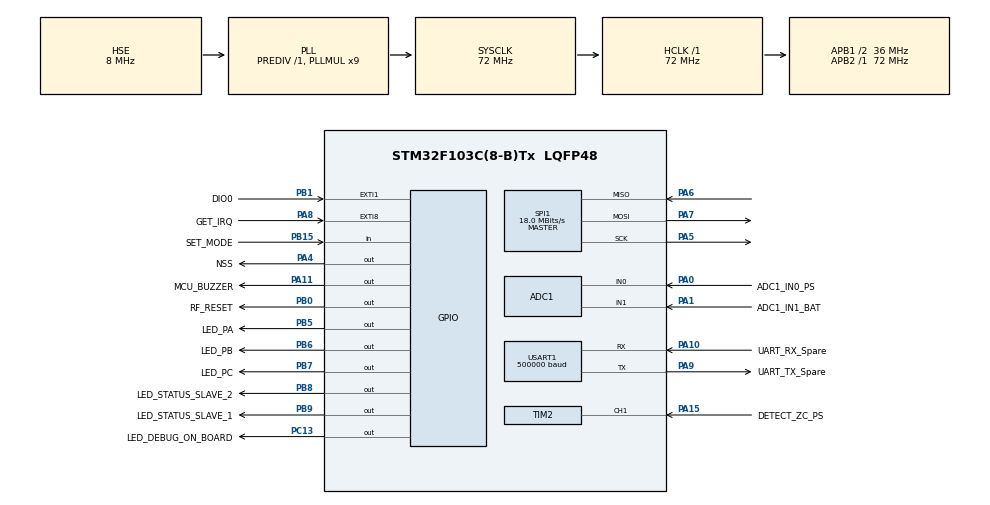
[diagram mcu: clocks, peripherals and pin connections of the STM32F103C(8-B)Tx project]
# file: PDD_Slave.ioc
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ADC1.Channel-1\#ChannelRegularConversion=ADC_CHANNEL_0
ADC1.Channel-2\#ChannelRegularConversion=ADC_CHANNEL_1
ADC1.ContinuousConvMode=ENABLE
ADC1.NbrOfConversion=2
ADC1.NbrOfConversionFlag=1
ADC1.Rank-1\#ChannelRegularConversion=1
ADC1.Rank-2\#ChannelRegularConversion=2
ADC1.SamplingTime-1\#ChannelRegularConversion=ADC_SAMPLETIME_55CYCLES_5
ADC1.SamplingTime-2\#ChannelRegularConversion=ADC_SAMPLETIME_239CYCLES_5
ADC1.master=1
Dma.ADC1.0.Direction=DMA_PERIPH_TO_MEMORY
Dma.ADC1.0.Instance=DMA1_Channel1
Dma.ADC1.0.MemDataAlignment=DMA_MDATAALIGN_HALFWORD
Dma.ADC1.0.MemInc=DMA_MINC_ENABLE
Dma.ADC1.0.Mode=DMA_CIRCULAR
Dma.ADC1.0.PeriphDataAlignment=DMA_PDATAALIGN_HALFWORD
Dma.ADC1.0.PeriphInc=DMA_PINC_DISABLE
Dma.ADC1.0.Priority=DMA_PRIORITY_LOW
Dma.Request0=ADC1
Dma.Request1=USART1_TX
Dma.USART1_TX.1.Direction=DMA_MEMORY_TO_PERIPH
Dma.USART1_TX.1.Instance=DMA1_Channel4
Dma.USART1_TX.1.MemDataAlignment=DMA_MDATAALIGN_BYTE
Dma.USART1_TX.1.MemInc=DMA_MINC_ENABLE
Dma.USART1_TX.1.Mode=DMA_NORMAL
Dma.USART1_TX.1.PeriphDataAlignment=DMA_PDATAALIGN_BYTE
Dma.USART1_TX.1.PeriphInc=DMA_PINC_DISABLE
Dma.USART1_TX.1.Priority=DMA_PRIORITY_LOW
Mcu.Family=STM32F1
Mcu.Name=STM32F103C(8-B)Tx
Mcu.Package=LQFP48
NVIC.DMA1_Channel1_IRQn=true\:0\:0\:false\:false\:true\:false\:true\:true
NVIC.DMA1_Channel4_IRQn=true\:0\:0\:false\:false\:true\:false\:true\:true
NVIC.EXTI1_IRQn=true\:0\:0\:false\:false\:true\:true\:true\:true
NVIC.EXTI9_5_IRQn=true\:2\:0\:true\:false\:true\:true\:true\:true
NVIC.PriorityGroup=NVIC_PRIORITYGROUP_4
NVIC.TIM1_UP_IRQn=true\:0\:0\:true\:false\:true\:true\:true\:true
NVIC.TIM3_IRQn=true\:1\:0\:true\:false\:true\:true\:true\:true
NVIC.USART1_IRQn=true\:0\:0\:false\:false\:true\:true\:true\:true
PA0-WKUP.GPIO_Label=ADC1_IN0_PS
PA0-WKUP.Signal=ADCx_IN0
PA1.GPIO_Label=ADC1_IN1_BAT
PA1.Signal=ADCx_IN1
PA10.GPIO_Label=UART_RX_Spare
PA10.Mode=Asynchronous
PA10.Signal=USART1_RX
PA11.GPIO_Label=MCU_BUZZER
PA11.Signal=GPIO_Output
PA13.Mode=Serial_Wire
PA13.Signal=SYS_JTMS-SWDIO
PA14.Mode=Serial_Wire
PA14.Signal=SYS_JTCK-SWCLK
PA15.GPIO_Label=DETECT_ZC_PS
PA15.Signal=S_TIM2_CH1_ETR
PA4.GPIO_Label=NSS
PA4.Signal=GPIO_Output
PA5.Mode=Full_Duplex_Master
PA5.Signal=SPI1_SCK
PA6.Mode=Full_Duplex_Master
PA6.Signal=SPI1_MISO
PA7.Mode=Full_Duplex_Master
PA7.Signal=SPI1_MOSI
PA8.GPIO_Label=GET_IRQ
PA8.GPIO_PuPd=GPIO_PULLDOWN
PA8.Signal=GPXTI8
PA9.GPIO_Label=UART_TX_Spare
PA9.Mode=Asynchronous
PA9.Signal=USART1_TX
PB0.GPIO_Label=RF_RESET
PB0.Signal=GPIO_Output
PB1.GPIO_Label=DIO0
PB1.GPIO_PuPd=GPIO_PULLDOWN
PB1.Signal=GPXTI1
PB15.GPIO_Label=SET_MODE
PB15.GPIO_PuPd=GPIO_PULLUP
PB15.Signal=GPIO_Input
PB5.GPIO_Label=LED_PA
PB5.GPIO_PuPd=GPIO_PULLDOWN
PB5.Signal=GPIO_Output
PB6.GPIO_Label=LED_PB
PB6.GPIO_PuPd=GPIO_PULLDOWN
PB6.Signal=GPIO_Output
PB7.GPIO_Label=LED_PC
PB7.GPIO_PuPd=GPIO_PULLDOWN
PB7.Signal=GPIO_Output
PB8.GPIO_Label=LED_STATUS_SLAVE_2
PB8.Signal=GPIO_Output
PB9.GPIO_Label=LED_STATUS_SLAVE_1
PB9.Signal=GPIO_Output
PC13-TAMPER-RTC.GPIO_Label=LED_DEBUG_ON_BOARD
PC13-TAMPER-RTC.Signal=GPIO_Output
PD0-OSC_IN.Mode=HSE-External-Oscillator
PD0-OSC_IN.Signal=RCC_OSC_IN
PD1-OSC_OUT.Mode=HSE-External-Oscillator
PD1-OSC_OUT.Signal=RCC_OSC_OUT
ProjectManager.HeapSize=0x200
ProjectManager.StackSize=0x400
ProjectManager.TargetToolchain=MDK-ARM V5.32
RCC.ADCPresc=RCC_ADCPCLK2_DIV6
RCC.AHBFreq_Value=72000000
RCC.APB1CLKDivider=RCC_HCLK_DIV2
RCC.APB1Freq_Value=36000000
RCC.APB1TimFreq_Value=72000000
RCC.APB2Freq_Value=72000000
RCC.APB2TimFreq_Value=72000000
RCC.HCLKFreq_Value=72000000
RCC.PLLMUL=RCC_PLL_MUL9
RCC.PLLSourceVirtual=RCC_PLLSOURCE_HSE
RCC.SYSCLKFreq_VALUE=72000000
RCC.SYSCLKSource=RCC_SYSCLKSOURCE_PLLCLK
RCC.USBFreq_Value=72000000
SH.ADCx_IN0.0=ADC1_IN0,IN0
SH.ADCx_IN1.0=ADC1_IN1,IN1
SH.S_TIM2_CH1_ETR.0=TIM2_CH1,Input_Capture1_from_TI1
SPI1.BaudRatePrescaler=SPI_BAUDRATEPRESCALER_4
SPI1.CalculateBaudRate=18.0 MBits/s
SPI1.Direction=SPI_DIRECTION_2LINES
SPI1.Mode=SPI_MODE_MASTER
SPI1.VirtualType=VM_MASTER
TIM1.AutoReloadPreload=TIM_AUTORELOAD_PRELOAD_ENABLE
TIM1.Period=49
TIM1.Prescaler=71
TIM2.Channel-Input_Capture1_from_TI1=TIM_CHANNEL_1
TIM3.Prescaler=71
USART1.BaudRate=500000
USART1.VirtualMode=VM_ASYNC
VP_TIM1_VS_ClockSourceINT.Mode=Internal
VP_TIM2_VS_ClockSourceINT.Mode=Internal
VP_TIM3_VS_ClockSourceINT.Mode=Internal
board=custom

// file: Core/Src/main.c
/* USER CODE BEGIN Header */
/**
  ******************************************************************************
  * @file           : main.c
  * @brief          : Main program body
  ******************************************************************************
  * @attention
  *
  * Copyright (c) 2026 STMicroelectronics.
  * All rights reserved.
  *
  * This software is licensed under terms that can be found in the LICENSE file
  * in the root directory of this software component.
  * If no LICENSE file comes with this software, it is provided AS-IS.
  *
  ******************************************************************************
  */
/* USER CODE END Header */
#include "main.h"

/* USER CODE BEGIN Includes */

#include "LoRa.h"

#include "flash.h"

#include <string.h>

#include <stdio.h>

#include <stdbool.h>

/* USER CODE END Includes */

/* USER CODE BEGIN PD */

//#define DEBUG

#define ON_LED_DEBUG( )	HAL_GPIO_WritePin(LED_DEBUG_ON_BOARD_GPIO_Port, LED_DEBUG_ON_BOARD_Pin, GPIO_PIN_SET)
#define OFF_LED_DEBUG( )	HAL_GPIO_WritePin(LED_DEBUG_ON_BOARD_GPIO_Port, LED_DEBUG_ON_BOARD_Pin, GPIO_PIN_RESET)
#define TOGGLE_LED_DEBUG( )	HAL_GPIO_TogglePin(LED_DEBUG_ON_BOARD_GPIO_Port, LED_DEBUG_ON_BOARD_Pin)

#define ON_LED_PA( )	HAL_GPIO_WritePin(LED_PA_GPIO_Port, LED_PA_Pin, GPIO_PIN_SET);
#define OFF_LED_PA( )	HAL_GPIO_WritePin(LED_PA_GPIO_Port, LED_PA_Pin, GPIO_PIN_RESET);

#define ON_LED_PB( )	HAL_GPIO_WritePin(LED_PB_GPIO_Port, LED_PB_Pin, GPIO_PIN_SET);
#define OFF_LED_PB( )	HAL_GPIO_WritePin(LED_PB_GPIO_Port, LED_PB_Pin, GPIO_PIN_RESET);

#define ON_LED_PC( )	HAL_GPIO_WritePin(LED_PC_GPIO_Port, LED_PC_Pin, GPIO_PIN_SET);
#define OFF_LED_PC( )	HAL_GPIO_WritePin(LED_PC_GPIO_Port, LED_PC_Pin, GPIO_PIN_RESET);

// Buzzer active
#define BUZZER_ON()  HAL_GPIO_WritePin(MCU_BUZZER_GPIO_Port, MCU_BUZZER_Pin, GPIO_PIN_SET);
#define BUZZER_OFF()  HAL_GPIO_WritePin(MCU_BUZZER_GPIO_Port, MCU_BUZZER_Pin, GPIO_PIN_RESET);

#define MA_SIZE_MAX     100
#define MA_SIZE_PHASE_ZC  5
#define MA_SIZE_BAT       8

#define MAX_SIZE_LORA 12

// #define ZERO_PS 1978

#define CYCLE_GRID 20000

#define RANGE_GRID_L 19000
#define RANGE_GRID_H 21000

#define TIME_DET_PHASE 50   //      50*20ms = 1s
#define LOSS_GRID_TIMEOUT 1000   //   100ms/0.1ms = 1000

#define pA_L   0
#define pA_H   6667

#define pB_L   13333
#define pB_H   20000

#define pC_L   6667
#define pC_H   13333

#define BATTERY_LOW   9.6
#define BATTERY_FULL  12.0
#define V_CHARGER_ON 0.2
#define V_CHARGER_OFF 0.2

typedef struct
{
    uint16_t buf[MA_SIZE_MAX];
    uint32_t sum;
    uint8_t index;
    uint16_t size;
} MA_Filter_t;

typedef enum
{
  MODE_IDLE = 0xFF,
  MODE_OFF = 0,
  MODE_STS_G = 1,
  MODE_STS_R = 2,

  MODE_SET_FLASH_G = 3,
  MODE_FLASH_G = 4,

  MODE_SET_FLASH_R = 5,
  MODE_FLASH_R = 6,
}MODE_LED_e;

typedef enum
{
  BUZZER_OFF = 0,
  BUZZER_ON = 1,
  BUZZER_SET_TRIGGER_PIP = 2,
  BUZZER_TRIGGER_PIP = 3,
}MODE_BUZZER_e;

typedef enum
{
  NORMAL = 0,
  BAT_LOW = 1,
  ON_CHARGE = 2,
}SLAVE_STATUS_e;

typedef enum
{
  WAIT_NEG = 1,
  WAIT_ZC_UP = 2,
  WAIT_POS = 3,
  LOSS_GRID = 4,
}MODE_DETECT_e;

typedef struct {
    volatile uint16_t* adc_raw_ptr;       // Trỏ tới adc_raw[x]
    MA_Filter_t filter;         // Trỏ tới bộ lọc tương ứng
    uint16_t zero_val;     // Giá trị ZERO_PX
    volatile bool phase_detected;
    volatile uint16_t p_cur;
    volatile uint16_t p_prev;
    volatile uint16_t cnt_detect;
    volatile uint32_t last_zc;
    volatile uint32_t now_zc;
    volatile uint32_t interval_zc;
    volatile bool has_new_edge;          // Cờ báo hiệu có cạnh lên mới cho Main xử lý

    volatile MODE_DETECT_e mode_det;
    volatile uint16_t cnt_det_loss_grid;
  } Phase_Data_t;

typedef struct {
    volatile uint16_t* adc_raw_ptr;
    MA_Filter_t filter;
    float vBat_raw, vBat_filtered, vBat_last;
    uint16_t adc_filterd;

    uint16_t cnt_low_bat;
    uint16_t cnt_full_bat;

    bool flag_track_charge_full;

    uint32_t last_time;
    uint32_t interval_time;
    uint32_t now_time;
}Battery_Data_t;

/* USER CODE END PD */

ADC_HandleTypeDef hadc1;
DMA_HandleTypeDef hdma_adc1;

SPI_HandleTypeDef hspi1;

TIM_HandleTypeDef htim1;
TIM_HandleTypeDef htim2;
TIM_HandleTypeDef htim3;

UART_HandleTypeDef huart1;
DMA_HandleTypeDef hdma_usart1_tx;

/* USER CODE BEGIN PV */
uint32_t tick_slave = 0;
uint32_t cnt_timetick = 0;
uint32_t cycle_timetick = 20000;

volatile uint32_t ovf_tim3 = 0;
volatile uint8_t flag_cnt_50us = 0;

// LED
volatile MODE_LED_e mode_led = MODE_IDLE;
volatile uint16_t cnt_handle_led = 0;

//BUZZER
volatile MODE_BUZZER_e mode_buzzer = BUZZER_OFF;
volatile uint16_t cnt_handle_buzzer = 0;

//LoRa variables
LoRa vLoRa;
uint16_t config_lora = 0xFA;

uint8_t TX_Lora_buff[MAX_SIZE_LORA];
uint8_t RX_LoRa_buff[MAX_SIZE_LORA];

uint8_t rec_ok = 0;
uint16_t cnt_recOK = 0;
volatile uint16_t num_RX_irq_LoRa = 0;
volatile bool flag_Lora_Rx = false;

SLAVE_STATUS_e slave_status = NORMAL;

// Phase variables
Phase_Data_t phaseS;

// ADC measurement variables
volatile uint16_t adc_raw[2];

// Battery measurement
Battery_Data_t battery;

// For calib ADC at zeropoint
uint8_t flag_get_zero = 0;
uint16_t offset_pS = 0;

// For logging
uint8_t flag_tx_log = 0;
char uart_tx_log[100];
uint32_t stt = 0;

// Other variables
uint16_t delta_pA = 0;
uint16_t delta_pB = 0;
uint16_t delta_pC = 0;

uint32_t tx_time = 0, rx_time = 0;
uint32_t deltaT_mod = 0, deltaT_div = 0;
uint32_t latency = 0;

uint16_t point_pA = 0, point_pB = 0, point_pC = 0;

/* USER CODE END PV */

void SystemClock_Config(void);
static void MX_GPIO_Init(void);
static void MX_DMA_Init(void);
static void MX_TIM1_Init(void);
static void MX_USART1_UART_Init(void);
static void MX_ADC1_Init(void);
static void MX_SPI1_Init(void);
static void MX_TIM3_Init(void);
static void MX_TIM2_Init(void);
/* USER CODE BEGIN PFP */

void Get_Offset(void);
void Handle_LED(void);
void Handle_Buzzer(void);
void Battery_Handle(Battery_Data_t *pBat);
void Handle_LoRa_RX(void);
void OFF_LED_STATUS(void);
void ON_LED_STATUS_G(void);
void ON_LED_STATUS_R(void);
void MA_Init(MA_Filter_t *f, uint16_t init_value, uint16_t sizeMA);
uint16_t MA_Update(MA_Filter_t *f, uint16_t sample);

uint32_t GetTimeUs(){
  uint32_t ovf1, ovf2;
  uint32_t cnt;

  do {
    ovf1 = ovf_tim3;
    cnt = TIM3->CNT;
    ovf2 = ovf_tim3;
  } while (ovf1 != ovf2); // Guard against rollover during reading

  return (ovf1 << 16) + cnt;
}

void Phase_init(Phase_Data_t* p_data, volatile  uint16_t* adc_raw_ptr, uint16_t zero_val){
    p_data->adc_raw_ptr = adc_raw_ptr;
    p_data->zero_val = zero_val;
    p_data->p_cur = 0;
    p_data->p_prev = 0;
    p_data->cnt_detect = 0;
    p_data->last_zc = 0;
    p_data->now_zc = 0;
    p_data->interval_zc = 0;
    p_data->phase_detected = false;
    p_data->has_new_edge = false;
    MA_Init(&p_data->filter, zero_val, MA_SIZE_PHASE_ZC);

    p_data->mode_det = WAIT_NEG;
    p_data->cnt_det_loss_grid = 0;
}

static inline void Process_Phase_ZC(Phase_Data_t *phase, uint32_t now_time)
{
    phase->p_cur = MA_Update(&phase->filter, *(phase->adc_raw_ptr));

    if(phase->phase_detected){
      if(++phase->cnt_det_loss_grid >= LOSS_GRID_TIMEOUT){
        phase->cnt_det_loss_grid = 0;
        phase->mode_det = LOSS_GRID;
      }
    }

    switch(phase->mode_det)
    {
      case WAIT_NEG:
        if (phase->p_cur < phase->zero_val - 100)
        {
          if(phase->phase_detected == true){
            phase->mode_det = WAIT_ZC_UP;
          }else{
            phase->mode_det = WAIT_POS;
          }
        }
        break;
      case WAIT_POS:
        if (phase->p_cur > phase->zero_val + 100)
        {
          if(++phase->cnt_detect == TIME_DET_PHASE){
            phase->phase_detected = true;
          }
          phase->mode_det = WAIT_NEG;
        }
        break;
      case WAIT_ZC_UP:
			{
        uint32_t itv_lZC = now_time - phase->last_zc;

        /* Rising Zero-Cross */
        if (phase->p_prev <= phase->zero_val && phase->p_cur>phase->zero_val)
        {
            /* First edge after startup or loss-grid */
            if (phase->last_zc == 0U)
            {
                phase->last_zc = now_time;
            }
            else
            {
                while(itv_lZC > RANGE_GRID_H){
                  itv_lZC -= CYCLE_GRID;
                }
                if ((itv_lZC >= RANGE_GRID_L) && (itv_lZC <= RANGE_GRID_H))
                {
                  phase->now_zc       = now_time;
                  phase->interval_zc  = itv_lZC;

                  phase->has_new_edge = true;
                  phase->last_zc = now_time;
                  phase->cnt_det_loss_grid = 0;
                }
            }
            phase->mode_det = WAIT_NEG;
        }
        phase->p_prev = phase->p_cur;
        break;
			}
      case LOSS_GRID:
        phase->phase_detected = false;
        phase->cnt_detect  = 0;
        phase->last_zc     = 0;
        phase->now_zc = 0;
        phase->mode_det = WAIT_NEG;
        break;
    }
}

void HAL_TIM_PeriodElapsedCallback(TIM_HandleTypeDef *htim)
{
  if (htim->Instance == TIM1)
  {
    cnt_timetick++;
    cnt_handle_led++;
    cnt_handle_buzzer++;

    if(++flag_cnt_50us >= 2)    // 50us or 100us
    {
      uint32_t now_time = GetTimeUs();
      flag_cnt_50us = 0;

      Process_Phase_ZC(&phaseS, now_time);
    }
  }

  if(htim->Instance == TIM3)        // every 65535us
  {
    ovf_tim3++;
  }
}

void HAL_GPIO_EXTI_Callback(uint16_t GPIO_Pin)
{
  /* Prevent unused argument(s) compilation warning */
  UNUSED(GPIO_Pin);

  if(GPIO_Pin == vLoRa.DIO0_pin)
  {
    num_RX_irq_LoRa++;
    flag_Lora_Rx = true;
  }
#ifdef DEBUG
  if(GPIO_Pin == GET_IRQ_Pin)
  {
    tx_time = GetTimeUs();
  }
#endif
}

void Battery_init(Battery_Data_t* pBat, volatile  uint16_t* adc_raw_ptr){
    pBat->adc_raw_ptr = adc_raw_ptr;
    pBat->vBat_raw = 0.0f;
    pBat->vBat_filtered = 0.0f;
    pBat->adc_filterd = 0;

    pBat->last_time = 0;
    pBat->interval_time = 0;
    pBat->now_time = 0;

    pBat->cnt_low_bat = 0;
    pBat->cnt_full_bat = 0;
    pBat->flag_track_charge_full = false;
    MA_Init(&pBat->filter, 0, MA_SIZE_BAT);
}

/* USER CODE END PFP */

int main(void)
{

  /* MCU Configuration--------------------------------------------------------*/

  /* Reset of all peripherals, Initializes the Flash interface and the Systick. */
  HAL_Init();

  /* Configure the system clock */
  SystemClock_Config();

  /* Initialize all configured peripherals */
  MX_GPIO_Init();
  MX_DMA_Init();
  MX_TIM1_Init();
  MX_USART1_UART_Init();
  MX_ADC1_Init();
  MX_SPI1_Init();
  MX_TIM3_Init();
  MX_TIM2_Init();
  /* USER CODE BEGIN 2 */

	ON_LED_DEBUG();
  ON_LED_STATUS_G();

  ON_LED_PA();
  ON_LED_PB();
  ON_LED_PC();

	Lora_Init(&vLoRa, &hspi1, 912);
	LoRa_reset(&vLoRa);
	config_lora = LoRa_Config(&vLoRa);

	while(config_lora!=0x00C8){
		ON_LED_DEBUG();
    Lora_Init(&vLoRa, &hspi1, 912);
	  LoRa_reset(&vLoRa);
    config_lora = LoRa_Config(&vLoRa);
		OFF_LED_DEBUG();
		HAL_Delay(15);
	}
  LoRa_startReceiving(&vLoRa);
  // Config Lora ok
  OFF_LED_DEBUG();
  OFF_LED_STATUS();

	Load_Infor_Func();

	Phase_init(&phaseS, &adc_raw[0], vInfor_cache.zero_pS);

  Battery_init(&battery, &adc_raw[1]);

	HAL_ADC_Start_DMA(&hadc1, (uint32_t*)&adc_raw, 2);

	BUZZER_ON(); HAL_Delay(15);
	BUZZER_OFF(); HAL_Delay(100);
  OFF_LED_PA();
	BUZZER_ON(); HAL_Delay(15);
	BUZZER_OFF(); HAL_Delay(100);
  OFF_LED_PB();
	BUZZER_ON(); HAL_Delay(15);
	BUZZER_OFF(); HAL_Delay(100);
  OFF_LED_PC();

	HAL_TIM_Base_Start_IT(&htim1);
  HAL_TIM_Base_Start_IT(&htim3);

	uint16_t cnt_get_zero = 0;
	while(HAL_GPIO_ReadPin(SET_MODE_GPIO_Port, SET_MODE_Pin) == GPIO_PIN_RESET){
		if(++cnt_get_zero == 3000){
			flag_get_zero = true;
			break;
		}
	}

	// Battery meas stable
	uint8_t cnt_try = 50;
	while(--cnt_try >0 ){
		HAL_Delay(1);
		battery.adc_filterd = MA_Update(&battery.filter, *(battery.adc_raw_ptr));
    battery.vBat_filtered = ((float)battery.adc_filterd / 4095.0f) * 3.3f * 4.9f;     // tinh dien ap theo "pBat->adc_filterd"
		battery.vBat_last = battery.vBat_filtered;
	}

  /* USER CODE END 2 */

  /* Infinite loop */
  while (1)
  {

    /* USER CODE BEGIN 3 */

		tick_slave++;

#ifdef DEBUG
		if(cnt_timetick >= cycle_timetick)
    {
      cnt_timetick = 0;
			TOGGLE_LED_DEBUG();
    }
#endif

		// Handle receive packet Lora
		Handle_LoRa_RX();

    // Handle LED status
    Handle_LED();

    // Handle Buzzer
    Handle_Buzzer();

    // Battery Voltage Meas
    Battery_Handle(&battery);

		// Get offset for ADC measurement
    Get_Offset();

#ifdef DEBUG
    // For debug
    if(flag_tx_log == 1){
			flag_tx_log = 0;
			//sprintf(uart_tx_log, "%u %u %u\n",++stt, adc_raw_pS, adc_filtered_pS);

			//sprintf(uart_tx_log, "%u %u %u %u\n",++stt, adc_raw_pS, adc_filtered_pS, interval_zc);

			//sprintf(uart_tx_log, "%u %u %u %u %u\n",++stt, deltaT, LN, delta_pB, delta_pC);

			//HAL_UART_Transmit_DMA(&huart1, (uint8_t*)uart_tx_log, strlen(uart_tx_log));
		}
#endif

  }
  /* USER CODE END 3 */
}

void SystemClock_Config(void)
{
  RCC_OscInitTypeDef RCC_OscInitStruct = {0};
  RCC_ClkInitTypeDef RCC_ClkInitStruct = {0};
  RCC_PeriphCLKInitTypeDef PeriphClkInit = {0};

  /** Initializes the RCC Oscillators according to the specified parameters
  * in the RCC_OscInitTypeDef structure.
  */
  RCC_OscInitStruct.OscillatorType = RCC_OSCILLATORTYPE_HSE;
  RCC_OscInitStruct.HSEState = RCC_HSE_ON;
  RCC_OscInitStruct.HSEPredivValue = RCC_HSE_PREDIV_DIV1;
  RCC_OscInitStruct.HSIState = RCC_HSI_ON;
  RCC_OscInitStruct.PLL.PLLState = RCC_PLL_ON;
  RCC_OscInitStruct.PLL.PLLSource = RCC_PLLSOURCE_HSE;
  RCC_OscInitStruct.PLL.PLLMUL = RCC_PLL_MUL9;
  if (HAL_RCC_OscConfig(&RCC_OscInitStruct) != HAL_OK)
  {
    Error_Handler();
  }

  /** Initializes the CPU, AHB and APB buses clocks
  */
  RCC_ClkInitStruct.ClockType = RCC_CLOCKTYPE_HCLK|RCC_CLOCKTYPE_SYSCLK
                              |RCC_CLOCKTYPE_PCLK1|RCC_CLOCKTYPE_PCLK2;
  RCC_ClkInitStruct.SYSCLKSource = RCC_SYSCLKSOURCE_PLLCLK;
  RCC_ClkInitStruct.AHBCLKDivider = RCC_SYSCLK_DIV1;
  RCC_ClkInitStruct.APB1CLKDivider = RCC_HCLK_DIV2;
  RCC_ClkInitStruct.APB2CLKDivider = RCC_HCLK_DIV1;

  if (HAL_RCC_ClockConfig(&RCC_ClkInitStruct, FLASH_LATENCY_2) != HAL_OK)
  {
    Error_Handler();
  }
  PeriphClkInit.PeriphClockSelection = RCC_PERIPHCLK_ADC;
  PeriphClkInit.AdcClockSelection = RCC_ADCPCLK2_DIV6;
  if (HAL_RCCEx_PeriphCLKConfig(&PeriphClkInit) != HAL_OK)
  {
    Error_Handler();
  }
}

static void MX_ADC1_Init(void)
{

  ADC_ChannelConfTypeDef sConfig = {0};

  /** Common config
  */
  hadc1.Instance = ADC1;
  hadc1.Init.ScanConvMode = ADC_SCAN_ENABLE;
  hadc1.Init.ContinuousConvMode = ENABLE;
  hadc1.Init.DiscontinuousConvMode = DISABLE;
  hadc1.Init.ExternalTrigConv = ADC_SOFTWARE_START;
  hadc1.Init.DataAlign = ADC_DATAALIGN_RIGHT;
  hadc1.Init.NbrOfConversion = 2;
  if (HAL_ADC_Init(&hadc1) != HAL_OK)
  {
    Error_Handler();
  }

  /** Configure Regular Channel
  */
  sConfig.Channel = ADC_CHANNEL_0;
  sConfig.Rank = ADC_REGULAR_RANK_1;
  sConfig.SamplingTime = ADC_SAMPLETIME_55CYCLES_5;
  if (HAL_ADC_ConfigChannel(&hadc1, &sConfig) != HAL_OK)
  {
    Error_Handler();
  }

  /** Configure Regular Channel
  */
  sConfig.Channel = ADC_CHANNEL_1;
  sConfig.Rank = ADC_REGULAR_RANK_2;
  sConfig.SamplingTime = ADC_SAMPLETIME_239CYCLES_5;
  if (HAL_ADC_ConfigChannel(&hadc1, &sConfig) != HAL_OK)
  {
    Error_Handler();
  }

}

static void MX_SPI1_Init(void)
{

  /* SPI1 parameter configuration*/
  hspi1.Instance = SPI1;
  hspi1.Init.Mode = SPI_MODE_MASTER;
  hspi1.Init.Direction = SPI_DIRECTION_2LINES;
  hspi1.Init.DataSize = SPI_DATASIZE_8BIT;
  hspi1.Init.CLKPolarity = SPI_POLARITY_LOW;
  hspi1.Init.CLKPhase = SPI_PHASE_1EDGE;
  hspi1.Init.NSS = SPI_NSS_SOFT;
  hspi1.Init.BaudRatePrescaler = SPI_BAUDRATEPRESCALER_4;
  hspi1.Init.FirstBit = SPI_FIRSTBIT_MSB;
  hspi1.Init.TIMode = SPI_TIMODE_DISABLE;
  hspi1.Init.CRCCalculation = SPI_CRCCALCULATION_DISABLE;
  hspi1.Init.CRCPolynomial = 10;
  if (HAL_SPI_Init(&hspi1) != HAL_OK)
  {
    Error_Handler();
  }

}

static void MX_TIM1_Init(void)
{

  TIM_ClockConfigTypeDef sClockSourceConfig = {0};
  TIM_MasterConfigTypeDef sMasterConfig = {0};

  htim1.Instance = TIM1;
  htim1.Init.Prescaler = 71;
  htim1.Init.CounterMode = TIM_COUNTERMODE_UP;
  htim1.Init.Period = 49;
  htim1.Init.ClockDivision = TIM_CLOCKDIVISION_DIV1;
  htim1.Init.RepetitionCounter = 0;
  htim1.Init.AutoReloadPreload = TIM_AUTORELOAD_PRELOAD_ENABLE;
  if (HAL_TIM_Base_Init(&htim1) != HAL_OK)
  {
    Error_Handler();
  }
  sClockSourceConfig.ClockSource = TIM_CLOCKSOURCE_INTERNAL;
  if (HAL_TIM_ConfigClockSource(&htim1, &sClockSourceConfig) != HAL_OK)
  {
    Error_Handler();
  }
  sMasterConfig.MasterOutputTrigger = TIM_TRGO_RESET;
  sMasterConfig.MasterSlaveMode = TIM_MASTERSLAVEMODE_DISABLE;
  if (HAL_TIMEx_MasterConfigSynchronization(&htim1, &sMasterConfig) != HAL_OK)
  {
    Error_Handler();
  }

}

static void MX_TIM2_Init(void)
{

  TIM_ClockConfigTypeDef sClockSourceConfig = {0};
  TIM_MasterConfigTypeDef sMasterConfig = {0};
  TIM_IC_InitTypeDef sConfigIC = {0};

  htim2.Instance = TIM2;
  htim2.Init.Prescaler = 0;
  htim2.Init.CounterMode = TIM_COUNTERMODE_UP;
  htim2.Init.Period = 65535;
  htim2.Init.ClockDivision = TIM_CLOCKDIVISION_DIV1;
  htim2.Init.AutoReloadPreload = TIM_AUTORELOAD_PRELOAD_DISABLE;
  if (HAL_TIM_Base_Init(&htim2) != HAL_OK)
  {
    Error_Handler();
  }
  sClockSourceConfig.ClockSource = TIM_CLOCKSOURCE_INTERNAL;
  if (HAL_TIM_ConfigClockSource(&htim2, &sClockSourceConfig) != HAL_OK)
  {
    Error_Handler();
  }
  if (HAL_TIM_IC_Init(&htim2) != HAL_OK)
  {
    Error_Handler();
  }
  sMasterConfig.MasterOutputTrigger = TIM_TRGO_RESET;
  sMasterConfig.MasterSlaveMode = TIM_MASTERSLAVEMODE_DISABLE;
  if (HAL_TIMEx_MasterConfigSynchronization(&htim2, &sMasterConfig) != HAL_OK)
  {
    Error_Handler();
  }
  sConfigIC.ICPolarity = TIM_INPUTCHANNELPOLARITY_RISING;
  sConfigIC.ICSelection = TIM_ICSELECTION_DIRECTTI;
  sConfigIC.ICPrescaler = TIM_ICPSC_DIV1;
  sConfigIC.ICFilter = 0;
  if (HAL_TIM_IC_ConfigChannel(&htim2, &sConfigIC, TIM_CHANNEL_1) != HAL_OK)
  {
    Error_Handler();
  }

}

static void MX_TIM3_Init(void)
{

  TIM_ClockConfigTypeDef sClockSourceConfig = {0};
  TIM_MasterConfigTypeDef sMasterConfig = {0};

  htim3.Instance = TIM3;
  htim3.Init.Prescaler = 71;
  htim3.Init.CounterMode = TIM_COUNTERMODE_UP;
  htim3.Init.Period = 65535;
  htim3.Init.ClockDivision = TIM_CLOCKDIVISION_DIV1;
  htim3.Init.AutoReloadPreload = TIM_AUTORELOAD_PRELOAD_DISABLE;
  if (HAL_TIM_Base_Init(&htim3) != HAL_OK)
  {
    Error_Handler();
  }
  sClockSourceConfig.ClockSource = TIM_CLOCKSOURCE_INTERNAL;
  if (HAL_TIM_ConfigClockSource(&htim3, &sClockSourceConfig) != HAL_OK)
  {
    Error_Handler();
  }
  sMasterConfig.MasterOutputTrigger = TIM_TRGO_RESET;
  sMasterConfig.MasterSlaveMode = TIM_MASTERSLAVEMODE_DISABLE;
  if (HAL_TIMEx_MasterConfigSynchronization(&htim3, &sMasterConfig) != HAL_OK)
  {
    Error_Handler();
  }

}

static void MX_USART1_UART_Init(void)
{

  huart1.Instance = USART1;
  huart1.Init.BaudRate = 500000;
  huart1.Init.WordLength = UART_WORDLENGTH_8B;
  huart1.Init.StopBits = UART_STOPBITS_1;
  huart1.Init.Parity = UART_PARITY_NONE;
  huart1.Init.Mode = UART_MODE_TX_RX;
  huart1.Init.HwFlowCtl = UART_HWCONTROL_NONE;
  huart1.Init.OverSampling = UART_OVERSAMPLING_16;
  if (HAL_UART_Init(&huart1) != HAL_OK)
  {
    Error_Handler();
  }

}

static void MX_DMA_Init(void)
{

  /* DMA controller clock enable */
  __HAL_RCC_DMA1_CLK_ENABLE();

  /* DMA interrupt init */
  /* DMA1_Channel1_IRQn interrupt configuration */
  HAL_NVIC_SetPriority(DMA1_Channel1_IRQn, 0, 0);
  HAL_NVIC_EnableIRQ(DMA1_Channel1_IRQn);
  /* DMA1_Channel4_IRQn interrupt configuration */
  HAL_NVIC_SetPriority(DMA1_Channel4_IRQn, 0, 0);
  HAL_NVIC_EnableIRQ(DMA1_Channel4_IRQn);

}

static void MX_GPIO_Init(void)
{
  GPIO_InitTypeDef GPIO_InitStruct = {0};

  /* GPIO Ports Clock Enable */
  __HAL_RCC_GPIOC_CLK_ENABLE();
  __HAL_RCC_GPIOD_CLK_ENABLE();
  __HAL_RCC_GPIOA_CLK_ENABLE();
  __HAL_RCC_GPIOB_CLK_ENABLE();

  /*Configure GPIO pin Output Level */
  HAL_GPIO_WritePin(LED_DEBUG_ON_BOARD_GPIO_Port, LED_DEBUG_ON_BOARD_Pin, GPIO_PIN_RESET);

  /*Configure GPIO pin Output Level */
  HAL_GPIO_WritePin(GPIOA, NSS_Pin|MCU_BUZZER_Pin, GPIO_PIN_RESET);

  /*Configure GPIO pin Output Level */
  HAL_GPIO_WritePin(GPIOB, RF_RESET_Pin|LED_PA_Pin|LED_PB_Pin|LED_PC_Pin
                          |LED_STATUS_SLAVE_2_Pin|LED_STATUS_SLAVE_1_Pin, GPIO_PIN_RESET);

  /*Configure GPIO pin : LED_DEBUG_ON_BOARD_Pin */
  GPIO_InitStruct.Pin = LED_DEBUG_ON_BOARD_Pin;
  GPIO_InitStruct.Mode = GPIO_MODE_OUTPUT_PP;
  GPIO_InitStruct.Pull = GPIO_NOPULL;
  GPIO_InitStruct.Speed = GPIO_SPEED_FREQ_LOW;
  HAL_GPIO_Init(LED_DEBUG_ON_BOARD_GPIO_Port, &GPIO_InitStruct);

  /*Configure GPIO pins : NSS_Pin MCU_BUZZER_Pin */
  GPIO_InitStruct.Pin = NSS_Pin|MCU_BUZZER_Pin;
  GPIO_InitStruct.Mode = GPIO_MODE_OUTPUT_PP;
  GPIO_InitStruct.Pull = GPIO_NOPULL;
  GPIO_InitStruct.Speed = GPIO_SPEED_FREQ_LOW;
  HAL_GPIO_Init(GPIOA, &GPIO_InitStruct);

  /*Configure GPIO pins : RF_RESET_Pin LED_STATUS_SLAVE_2_Pin LED_STATUS_SLAVE_1_Pin */
  GPIO_InitStruct.Pin = RF_RESET_Pin|LED_STATUS_SLAVE_2_Pin|LED_STATUS_SLAVE_1_Pin;
  GPIO_InitStruct.Mode = GPIO_MODE_OUTPUT_PP;
  GPIO_InitStruct.Pull = GPIO_NOPULL;
  GPIO_InitStruct.Speed = GPIO_SPEED_FREQ_LOW;
  HAL_GPIO_Init(GPIOB, &GPIO_InitStruct);

  /*Configure GPIO pin : DIO0_Pin */
  GPIO_InitStruct.Pin = DIO0_Pin;
  GPIO_InitStruct.Mode = GPIO_MODE_IT_RISING;
  GPIO_InitStruct.Pull = GPIO_PULLDOWN;
  HAL_GPIO_Init(DIO0_GPIO_Port, &GPIO_InitStruct);

  /*Configure GPIO pin : SET_MODE_Pin */
  GPIO_InitStruct.Pin = SET_MODE_Pin;
  GPIO_InitStruct.Mode = GPIO_MODE_INPUT;
  GPIO_InitStruct.Pull = GPIO_PULLUP;
  HAL_GPIO_Init(SET_MODE_GPIO_Port, &GPIO_InitStruct);

  /*Configure GPIO pin : GET_IRQ_Pin */
  GPIO_InitStruct.Pin = GET_IRQ_Pin;
  GPIO_InitStruct.Mode = GPIO_MODE_IT_RISING;
  GPIO_InitStruct.Pull = GPIO_PULLDOWN;
  HAL_GPIO_Init(GET_IRQ_GPIO_Port, &GPIO_InitStruct);

  /*Configure GPIO pins : LED_PA_Pin LED_PB_Pin LED_PC_Pin */
  GPIO_InitStruct.Pin = LED_PA_Pin|LED_PB_Pin|LED_PC_Pin;
  GPIO_InitStruct.Mode = GPIO_MODE_OUTPUT_PP;
  GPIO_InitStruct.Pull = GPIO_PULLDOWN;
  GPIO_InitStruct.Speed = GPIO_SPEED_FREQ_LOW;
  HAL_GPIO_Init(GPIOB, &GPIO_InitStruct);

  /* EXTI interrupt init*/
  HAL_NVIC_SetPriority(EXTI1_IRQn, 0, 0);
  HAL_NVIC_EnableIRQ(EXTI1_IRQn);

  HAL_NVIC_SetPriority(EXTI9_5_IRQn, 2, 0);
  HAL_NVIC_EnableIRQ(EXTI9_5_IRQn);

}

/* USER CODE BEGIN 4 */

void Get_Offset(void)
{
  if(flag_get_zero == 0) return;
  flag_get_zero = 0;

  uint32_t sumS = 0;

  for(int i=0; i<1000; i++)
  {
    sumS += adc_raw[0];
    HAL_Delay(1);
  }

  offset_pS = sumS/1000;

  vInfor_cache.zero_pS = offset_pS;
  if(Update_NEW_Infor() == UPDATE_SUCCESS){
    mode_buzzer = BUZZER_ON;
  }else{
    while(1){
      ON_LED_PA();ON_LED_PB();ON_LED_PC();BUZZER_ON();
      HAL_Delay(100);
      OFF_LED_PA();OFF_LED_PB();OFF_LED_PC();BUZZER_OFF();
      HAL_Delay(100);
    }
  }
}

void OFF_LED_STATUS(void)
{
  HAL_GPIO_WritePin(LED_STATUS_SLAVE_1_GPIO_Port, LED_STATUS_SLAVE_1_Pin, GPIO_PIN_RESET);
  HAL_GPIO_WritePin(LED_STATUS_SLAVE_2_GPIO_Port, LED_STATUS_SLAVE_2_Pin, GPIO_PIN_RESET);
}

void ON_LED_STATUS_G(void)
{
  HAL_GPIO_WritePin(LED_STATUS_SLAVE_1_GPIO_Port, LED_STATUS_SLAVE_1_Pin, GPIO_PIN_SET);
  HAL_GPIO_WritePin(LED_STATUS_SLAVE_2_GPIO_Port, LED_STATUS_SLAVE_2_Pin, GPIO_PIN_RESET);
}

void ON_LED_STATUS_R(void)
{
  HAL_GPIO_WritePin(LED_STATUS_SLAVE_1_GPIO_Port, LED_STATUS_SLAVE_1_Pin, GPIO_PIN_RESET);
  HAL_GPIO_WritePin(LED_STATUS_SLAVE_2_GPIO_Port, LED_STATUS_SLAVE_2_Pin, GPIO_PIN_SET);
}

void Handle_LED(void)
{
  if(!phaseS.phase_detected){
    point_pA = 0; point_pB = 0; point_pC = 0;
    OFF_LED_PA(); OFF_LED_PB(); OFF_LED_PC();
  }

  switch(mode_led)
  {
    case MODE_IDLE:
      break;
    case MODE_OFF:
      OFF_LED_STATUS();
      mode_led = MODE_IDLE;
      break;
    case MODE_STS_G:
      ON_LED_STATUS_G();
      mode_led = MODE_IDLE;
      break;
    case MODE_STS_R:
      ON_LED_STATUS_R();
      mode_led = MODE_IDLE;
      break;
    case MODE_SET_FLASH_G:
      cnt_handle_led = 0;
      ON_LED_STATUS_G();
      mode_led = MODE_FLASH_G;
      break;
    case MODE_FLASH_G:
      if(cnt_handle_led >= 3600){			// 30ms
        cnt_handle_led = 0;
        mode_led = MODE_OFF;
      }
      break;
    case MODE_SET_FLASH_R:
      cnt_handle_led = 0;
      ON_LED_STATUS_R();
      mode_led = MODE_FLASH_R;
      break;
    case MODE_FLASH_R:
      if(cnt_handle_led >= 3600){			// 30ms
        cnt_handle_led = 0;
        mode_led = MODE_OFF;
      }
      break;
    default:
      break;
  }
}

void Handle_Buzzer(void)
{
  switch(mode_buzzer)
  {
    case BUZZER_OFF:
      BUZZER_OFF();
      break;
    case BUZZER_ON:
			BUZZER_ON();
      break;
    case BUZZER_SET_TRIGGER_PIP:
      // Initialize pip mode
      cnt_handle_buzzer = 0;
			BUZZER_ON();
      mode_buzzer = BUZZER_TRIGGER_PIP;
      break;
    case BUZZER_TRIGGER_PIP:
      if(cnt_handle_buzzer >= 2000)					// 2000*0.00005
      {
        mode_buzzer = BUZZER_OFF;
      }
      break;
    default:
      break;
  }
}

void Handle_LoRa_RX(void)
{
	if(!flag_Lora_Rx)	return;
	flag_Lora_Rx = false;
  if(slave_status == BAT_LOW || slave_status == ON_CHARGE) return;

	rec_ok = LoRa_receive(&vLoRa, RX_LoRa_buff, 5);

	uint8_t checksum = RX_LoRa_buff[0] + RX_LoRa_buff[1] + RX_LoRa_buff[2] + RX_LoRa_buff[3];

	if(RX_LoRa_buff[0] == 0xAA && checksum == RX_LoRa_buff[4])
	{
			mode_led = MODE_SET_FLASH_G;
			rx_time = GetTimeUs();
			if(phaseS.phase_detected)
			{
				deltaT_mod = (rx_time - phaseS.last_zc)%20000;
				deltaT_div = (rx_time - phaseS.last_zc)/20000;

#ifdef DEBUG
				latency = rx_time - tx_time;
#endif

				delta_pA = RX_LoRa_buff[1]*100;
				delta_pB = RX_LoRa_buff[2]*100;
				delta_pC = RX_LoRa_buff[3]*100;

				if(deltaT_mod <= 6667 || deltaT_mod > 19000){
					point_pA++;
				}else if(deltaT_mod <= 13333){
					point_pC++;
				}else{
					point_pB++;
				}

				uint8_t phase_check = 0;
				if(point_pA > point_pB && point_pA > point_pC){
					phase_check = 1;
				}else if(point_pB > point_pA && point_pB > point_pC){
					phase_check = 2;
				}else if(point_pC > point_pA && point_pC > point_pB){
					phase_check = 3;
				}else{
					phase_check = 0;
				}

				if(phase_check == 1){
					ON_LED_PA();
					OFF_LED_PB();
					OFF_LED_PC();
					mode_buzzer = BUZZER_SET_TRIGGER_PIP;
				}else if(phase_check == 2){
					if(delta_pB > delta_pC){
						OFF_LED_PA();
						ON_LED_PB();
						OFF_LED_PC();
					}else{
						OFF_LED_PA();
						OFF_LED_PB();
						ON_LED_PC();
					}
					mode_buzzer = BUZZER_SET_TRIGGER_PIP;
				}else if(phase_check == 3){
					if(delta_pB > delta_pC){
						OFF_LED_PA();
						OFF_LED_PB();
						ON_LED_PC();
					}else{
						OFF_LED_PA();
						ON_LED_PB();
						OFF_LED_PC();
					}
					mode_buzzer = BUZZER_SET_TRIGGER_PIP;
				}else{
					OFF_LED_PA();
					OFF_LED_PB();
					OFF_LED_PC();
				}
			}
	}
	memset(RX_LoRa_buff, 0, MAX_SIZE_LORA);
}

void Battery_Handle(Battery_Data_t *pBat)
{
  pBat->now_time = HAL_GetTick();
  if(pBat->now_time - pBat->last_time < 500) return;
  pBat->last_time = pBat->now_time;

  pBat->vBat_raw = ((float)*(pBat->adc_raw_ptr)/4095.0f)*3.3f*4.9f;   // tinh dien ap theo "*(pBat->adc_raw_ptr)"

  if(pBat->vBat_raw > pBat->vBat_last + V_CHARGER_ON){
    slave_status = ON_CHARGE;
  }

  pBat->adc_filterd = MA_Update(&pBat->filter, *(pBat->adc_raw_ptr));

  pBat->vBat_filtered = ((float)pBat->adc_filterd / 4095.0f) * 3.3f * 4.9f;     // tinh dien ap theo "pBat->adc_filterd"

  switch(slave_status)
  {
    case NORMAL:
      if(pBat->vBat_filtered < BATTERY_LOW)
      {
        if(pBat->cnt_low_bat < 20){		// low bat in 10s
          pBat->cnt_low_bat++;
        }else{
          slave_status = BAT_LOW;
          mode_led = MODE_STS_R;
        }
      }else{
        pBat->cnt_low_bat = 0;
      }
      break;
    case BAT_LOW:
      if(pBat->vBat_filtered > BATTERY_LOW + 0.2f) slave_status = NORMAL;
      break;
    case ON_CHARGE:
      mode_led = MODE_SET_FLASH_R;
      if(pBat->vBat_filtered > BATTERY_FULL){
        if(pBat->cnt_full_bat < 120){
          pBat->cnt_full_bat++;
        }else{
          mode_led = MODE_STS_G;
        }
      }else{
        pBat->cnt_full_bat = 0;
      }
      if(pBat->vBat_raw < pBat->vBat_last - V_CHARGER_OFF){
        slave_status = NORMAL;
        mode_led = MODE_OFF;
      }
      break;
    default:
      slave_status = NORMAL;
      break;
  }
  pBat->vBat_last = pBat->vBat_filtered;
}

void MA_Init(MA_Filter_t *f, uint16_t init_value, uint16_t sizeMA)
{
    f->sum = 0;
    f->index = 0;
    f->size = sizeMA;

    for(int i=0; i<f->size; i++)
    {
        f->buf[i] = init_value;
        f->sum += init_value;
    }
}

uint16_t MA_Update(MA_Filter_t *f, uint16_t sample)
{
    f->sum -= f->buf[f->index];
    f->buf[f->index] = sample;
    f->sum += sample;
    f->index++;

    if(f->index >= f->size)
        f->index = 0;

    return f->sum / f->size;
}

/* USER CODE END 4 */

void Error_Handler(void)
{
  __disable_irq();
  while (1)
  {
  }
}
